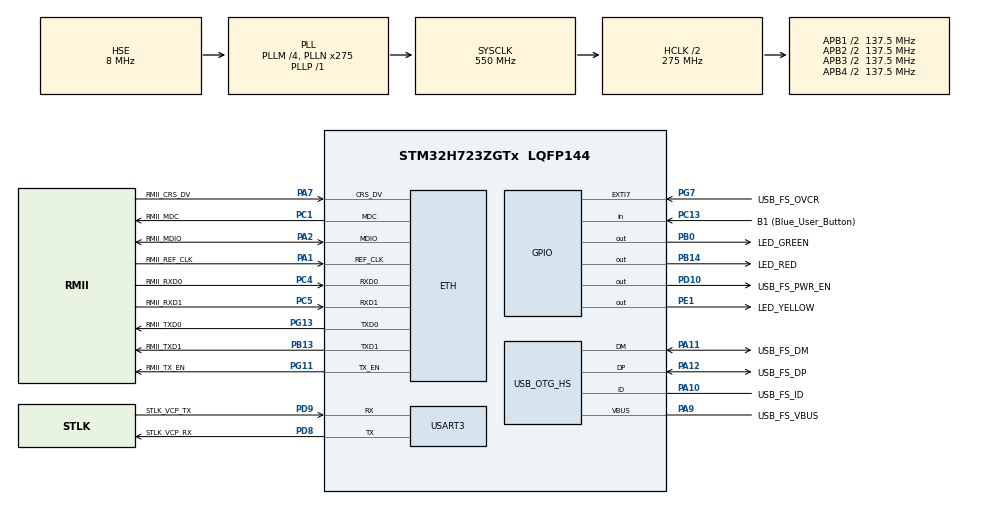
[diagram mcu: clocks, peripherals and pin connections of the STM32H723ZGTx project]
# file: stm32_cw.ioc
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ETH.MediaInterface=HAL_ETH_RMII_MODE
Mcu.Family=STM32H7
Mcu.Name=STM32H723ZGTx
Mcu.Package=LQFP144
NVIC.PriorityGroup=NVIC_PRIORITYGROUP_4
PA1.GPIO_Label=RMII_REF_CLK
PA1.Mode=RMII
PA1.Signal=ETH_REF_CLK
PA10.GPIO_Label=USB_FS_ID
PA10.Mode=OTG/Dual-Role-Device-FS
PA10.Signal=USB_OTG_HS_ID
PA11.GPIO_Label=USB_FS_DM
PA11.Mode=OTG/Dual-Role-Device-FS
PA11.Signal=USB_OTG_HS_DM
PA12.GPIO_Label=USB_FS_DP
PA12.Mode=OTG/Dual-Role-Device-FS
PA12.Signal=USB_OTG_HS_DP
PA13(JTMS/SWDIO).GPIO_Label=SWDIO
PA13(JTMS/SWDIO).Mode=Trace_Asynchronous_SW
PA13(JTMS/SWDIO).Signal=DEBUG_JTMS-SWDIO
PA14(JTCK/SWCLK).GPIO_Label=SWCLK
PA14(JTCK/SWCLK).Mode=Trace_Asynchronous_SW
PA14(JTCK/SWCLK).Signal=DEBUG_JTCK-SWCLK
PA2.GPIO_Label=RMII_MDIO
PA2.Mode=RMII
PA2.Signal=ETH_MDIO
PA7.GPIO_Label=RMII_CRS_DV
PA7.Mode=RMII
PA7.Signal=ETH_CRS_DV
PA9.GPIO_Label=USB_FS_VBUS
PA9.Mode=Activate_VBUS_FS
PA9.Signal=USB_OTG_HS_VBUS
PB0.GPIO_Label=LED_GREEN
PB0.Signal=GPIO_Output
PB13.GPIO_Label=RMII_TXD1
PB13.Mode=RMII
PB13.Signal=ETH_TXD1
PB14.GPIO_Label=LED_RED
PB14.Signal=GPIO_Output
PB3(JTDO/TRACESWO).GPIO_Label=SWO
PB3(JTDO/TRACESWO).Mode=Trace_Asynchronous_SW
PB3(JTDO/TRACESWO).Signal=DEBUG_JTDO-SWO
PC1.GPIO_Label=RMII_MDC
PC1.Mode=RMII
PC1.Signal=ETH_MDC
PC13.GPIO_Label=B1 (Blue_User_Button)
PC13.Signal=GPIO_Input
PC14-OSC32_IN.Mode=LSE-External-Oscillator
PC14-OSC32_IN.Signal=RCC_OSC32_IN
PC15-OSC32_OUT.Mode=LSE-External-Oscillator
PC15-OSC32_OUT.Signal=RCC_OSC32_OUT
PC4.GPIO_Label=RMII_RXD0
PC4.Mode=RMII
PC4.Signal=ETH_RXD0
PC5.GPIO_Label=RMII_RXD1
PC5.Mode=RMII
PC5.Signal=ETH_RXD1
PD10.GPIO_Label=USB_FS_PWR_EN
PD10.Signal=GPIO_Output
PD8.GPIO_Label=STLK_VCP_RX
PD8.Mode=Asynchronous
PD8.Signal=USART3_TX
PD9.GPIO_Label=STLK_VCP_TX
PD9.Mode=Asynchronous
PD9.Signal=USART3_RX
PE1.GPIO_Label=LED_YELLOW
PE1.Signal=GPIO_Output
PG11.GPIO_Label=RMII_TX_EN
PG11.Mode=RMII
PG11.Signal=ETH_TX_EN
PG13.GPIO_Label=RMII_TXD0
PG13.Mode=RMII
PG13.Signal=ETH_TXD0
PG7.GPIO_Label=USB_FS_OVCR
PG7.Signal=GPXTI7
PH0-OSC_IN.GPIO_Label=MCO
PH0-OSC_IN.Mode=HSE-External-Clock-Source
PH0-OSC_IN.Signal=RCC_OSC_IN
PH1-OSC_OUT.Signal=RCC_OSC_OUT
ProjectManager.HeapSize=0x200
ProjectManager.StackSize=0x400
ProjectManager.TargetToolchain=STM32CubeIDE
RCC.ADCFreq_Value=76000000
RCC.APB1Freq_Value=137500000
RCC.APB2Freq_Value=137500000
RCC.APB3Freq_Value=137500000
RCC.APB4Freq_Value=137500000
RCC.CortexFreq_Value=550000000
RCC.D1PPRE=RCC_APB3_DIV2
RCC.D2PPRE1=RCC_APB1_DIV2
RCC.D2PPRE2=RCC_APB2_DIV2
RCC.D3PPRE=RCC_APB4_DIV2
RCC.DIVM1=4
RCC.DIVM2=1
RCC.DIVN1=275
RCC.DIVN2=19
RCC.DIVP1=1
RCC.DIVQ1=4
RCC.HCLKFreq_Value=275000000
RCC.HPRE=RCC_HCLK_DIV2
RCC.HSE_VALUE=8000000
RCC.PLLFRACN=0
RCC.PLLSourceVirtual=RCC_PLLSOURCE_HSE
RCC.SYSCLKFreq_VALUE=550000000
RCC.SYSCLKSource=RCC_SYSCLKSOURCE_PLLCLK
RCC.USBCLockSelection=RCC_USBCLKSOURCE_HSI48
RCC.USBFreq_Value=48000000
USART3.VirtualMode-Asynchronous=VM_ASYNC
VP_CRC_VS_CRC.Mode=CRC_Activate
board=NUCLEO-H723ZG

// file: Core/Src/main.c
/* USER CODE BEGIN Header */
/**
  ******************************************************************************
  * @file           : main.c
  * @brief          : Main program body
  ******************************************************************************
  * @attention
  *
  * Copyright (c) 2022 STMicroelectronics.
  * All rights reserved.
  *
  * This software is licensed under terms that can be found in the LICENSE file
  * in the root directory of this software component.
  * If no LICENSE file comes with this software, it is provided AS-IS.
  *
  ******************************************************************************
  */
/* USER CODE END Header */
#include "main.h"
//#include "string.h"

/* USER CODE BEGIN Includes */
#include "hex.h"
//#include "hex.c"
/* USER CODE END Includes */

#if defined ( __ICCARM__ ) /*!< IAR Compiler */
#pragma location=0x30000000
ETH_DMADescTypeDef  DMARxDscrTab[ETH_RX_DESC_CNT]; /* Ethernet Rx DMA Descriptors */
#pragma location=0x30000200
ETH_DMADescTypeDef  DMATxDscrTab[ETH_TX_DESC_CNT]; /* Ethernet Tx DMA Descriptors */

#elif defined ( __CC_ARM )  /* MDK ARM Compiler */

__attribute__((at(0x30000000))) ETH_DMADescTypeDef  DMARxDscrTab[ETH_RX_DESC_CNT]; /* Ethernet Rx DMA Descriptors */
__attribute__((at(0x30000200))) ETH_DMADescTypeDef  DMATxDscrTab[ETH_TX_DESC_CNT]; /* Ethernet Tx DMA Descriptors */

#elif defined ( __GNUC__ ) /* GNU Compiler */
ETH_DMADescTypeDef DMARxDscrTab[ETH_RX_DESC_CNT] __attribute__((section(".RxDecripSection"))); /* Ethernet Rx DMA Descriptors */
ETH_DMADescTypeDef DMATxDscrTab[ETH_TX_DESC_CNT] __attribute__((section(".TxDecripSection")));   /* Ethernet Tx DMA Descriptors */

#endif

ETH_TxPacketConfig TxConfig;

CRC_HandleTypeDef hcrc;

ETH_HandleTypeDef heth;

UART_HandleTypeDef huart3;

/* USER CODE BEGIN PV */

const char *hexdata[80] = {
				":020000040802F0\n",
		        ":1000000000000524D10E00087D0D0008830D0008B6\n",
		        ":10001000890D00088F0D0008950D000800000000F4\n",
				":100020000000000000000000000000009B0D000820\n",
				":10003000A90D000800000000B70D0008C50D00085C\n",
				":10004000210F0008210F0008210F0008210F0008D0\n",
				":10005000210F0008210F0008210F0008210F0008C0\n",
				":10006000210F0008210F0008210F0008210F0008B0\n",
				":10007000210F0008210F0008210F0008210F0008A0\n",
				":10008000210F0008210F0008210F0008210F000890\n",
				":10009000210F0008210F0008210F0008210F000880\n",
				":1000A000210F0008210F0008210F0008210F000870\n",
				":1000B000210F0008210F0008210F0008210F000860\n",
				":1000C000210F0008210F0008210F0008210F000850\n",
				":1000D000210F0008210F0008210F0008210F000840\n",
				":1000E000D10D0008210F000800000000210F0008BA\n",
				":1000F000210F0008210F0008210F0008210F000820\n",
				":10010000210F0008210F0008210F0008210F00080F\n",
				":10011000210F0008210F0008210F0008210F0008FF\n",
				":10012000210F0008210F0008210F0008210F0008EF\n",
				":10013000210F0008210F0008210F0008210F0008DF\n",
				":1001400000000000000000000000000000000000AF\n",
				":10015000210F0008210F0008210F0008210F0008BF\n",
				":10016000210F0008210F0008210F0008210F0008AF\n",
				":10017000210F0008210F0008210F000800000000D7\n",
				":10018000210F0008210F0008210F0008210F00088F\n",
				":10019000210F0008210F0008210F0008210F00087F\n",
				":1001A000210F0008210F0008210F000800000000A7\n",
				":1001B000210F0008210F0008210F0008210F00085F\n",
				":1001C000836A33F8110000EB8000C01000F55C700A\n",
				":1001D00080B2704703788B4286BF024B33F8110020\n",
				":1001E00000207047C81C0020034B187E10B100226D\n",
				":1001F0001A760120704700BFC81C002007299DBF48\n",
				":10020000024B03EB8101888B00207047C81C002043\n",
				":10021000024B03EB4101888FC0087047C81C0020C7\n",
				":1002200082B000230193019B43F020030193019BC3\n",
				":00000001FF\n"
};

hexconv testData;
extern uint8_t eof_reached;

uint32_t FirstSector = 1, NbOfSectors = 1;
uint32_t Address = 0, SECTORError = 0;

static FLASH_EraseInitTypeDef EraseInitStruct;
uint32_t flashdata[8];

/* USER CODE END PV */

void SystemClock_Config(void);
static void MX_GPIO_Init(void);
static void MX_ETH_Init(void);
static void MX_USART3_UART_Init(void);
static void MX_USB_OTG_HS_USB_Init(void);
static void MX_CRC_Init(void);

int main(void)
{

  /* MCU Configuration--------------------------------------------------------*/

  /* Reset of all peripherals, Initializes the Flash interface and the Systick. */
  HAL_Init();

  /* Configure the system clock */
  SystemClock_Config();

  /* Initialize all configured peripherals */
  MX_GPIO_Init();
  MX_ETH_Init();
  MX_USART3_UART_Init();
  MX_USB_OTG_HS_USB_Init();
  MX_CRC_Init();
  /* USER CODE BEGIN 2 */

  // ----------------open flash to write----------------
  HAL_FLASH_Unlock();
  HAL_Delay(10);

  //----------------------------erase--------------------

  	  EraseInitStruct.TypeErase     = FLASH_TYPEERASE_SECTORS;
      EraseInitStruct.Banks         = FLASH_BANK_1;
      EraseInitStruct.VoltageRange  = FLASH_VOLTAGE_RANGE_4;
      EraseInitStruct.Sector        = FirstSector;
      EraseInitStruct.NbSectors     = NbOfSectors;

	  HAL_FLASHEx_Erase(&EraseInitStruct, &SECTORError);
	  HAL_Delay(10);

  //----------------- считать первую строку для получения extended adress----------------
  getFromHex(hexdata[0], &testData);

  //-----------------------обработка  остальных строк------------------------
  int i = 1;
  while (!eof_reached)
  {
	//int i = 1;
	if (0== getFromHex(hexdata[i], &testData))
	{
		//testData.data[4] = 0x00;
		memset(flashdata, 0x00, sizeof(flashdata));
		memcpy(flashdata, testData.data, 16);

//-------------------------а вот это потому, что я купил Н7---------------------
		uint32_t flash_addr = testData.addr;
		i++;
		if(0== getFromHex(hexdata[i], &testData) && !eof_reached)
		{
		for (int j = 4; j<8; j++)
		{
			flashdata[j] = testData.data[j-4];
		}
		}
		else if (eof_reached)
		{
			for (int j = 4; j<8; j++)
					{
						flashdata[j] = 0xffffffff;
					}

		}
//---------------------конец костыля для Н7--------------------------

		HAL_FLASH_Program(FLASH_TYPEPROGRAM_FLASHWORD, flash_addr, (uint32_t)flashdata);
		//HAL_FLASH_Program(TypeProgram, FlashAddress, DataAddress);
	}
	i++;
  }

  HAL_FLASH_Lock();

  /* USER CODE END 2 */

  /* Infinite loop */
  while (1)
  {

    /* USER CODE BEGIN 3 */
	  __NOP();

  }
  /* USER CODE END 3 */
}

void SystemClock_Config(void)
{
  RCC_OscInitTypeDef RCC_OscInitStruct = {0};
  RCC_ClkInitTypeDef RCC_ClkInitStruct = {0};

  /** Supply configuration update enable
  */
  HAL_PWREx_ConfigSupply(PWR_LDO_SUPPLY);

  /** Configure the main internal regulator output voltage
  */
  __HAL_PWR_VOLTAGESCALING_CONFIG(PWR_REGULATOR_VOLTAGE_SCALE0);

  while(!__HAL_PWR_GET_FLAG(PWR_FLAG_VOSRDY)) {}

  /** Initializes the RCC Oscillators according to the specified parameters
  * in the RCC_OscInitTypeDef structure.
  */
  RCC_OscInitStruct.OscillatorType = RCC_OSCILLATORTYPE_HSI48|RCC_OSCILLATORTYPE_HSE;
  RCC_OscInitStruct.HSEState = RCC_HSE_BYPASS;
  RCC_OscInitStruct.HSI48State = RCC_HSI48_ON;
  RCC_OscInitStruct.PLL.PLLState = RCC_PLL_ON;
  RCC_OscInitStruct.PLL.PLLSource = RCC_PLLSOURCE_HSE;
  RCC_OscInitStruct.PLL.PLLM = 4;
  RCC_OscInitStruct.PLL.PLLN = 275;
  RCC_OscInitStruct.PLL.PLLP = 1;
  RCC_OscInitStruct.PLL.PLLQ = 4;
  RCC_OscInitStruct.PLL.PLLR = 2;
  RCC_OscInitStruct.PLL.PLLRGE = RCC_PLL1VCIRANGE_1;
  RCC_OscInitStruct.PLL.PLLVCOSEL = RCC_PLL1VCOWIDE;
  RCC_OscInitStruct.PLL.PLLFRACN = 0;
  if (HAL_RCC_OscConfig(&RCC_OscInitStruct) != HAL_OK)
  {
    Error_Handler();
  }

  /** Initializes the CPU, AHB and APB buses clocks
  */
  RCC_ClkInitStruct.ClockType = RCC_CLOCKTYPE_HCLK|RCC_CLOCKTYPE_SYSCLK
                              |RCC_CLOCKTYPE_PCLK1|RCC_CLOCKTYPE_PCLK2
                              |RCC_CLOCKTYPE_D3PCLK1|RCC_CLOCKTYPE_D1PCLK1;
  RCC_ClkInitStruct.SYSCLKSource = RCC_SYSCLKSOURCE_PLLCLK;
  RCC_ClkInitStruct.SYSCLKDivider = RCC_SYSCLK_DIV1;
  RCC_ClkInitStruct.AHBCLKDivider = RCC_HCLK_DIV2;
  RCC_ClkInitStruct.APB3CLKDivider = RCC_APB3_DIV2;
  RCC_ClkInitStruct.APB1CLKDivider = RCC_APB1_DIV2;
  RCC_ClkInitStruct.APB2CLKDivider = RCC_APB2_DIV2;
  RCC_ClkInitStruct.APB4CLKDivider = RCC_APB4_DIV2;

  if (HAL_RCC_ClockConfig(&RCC_ClkInitStruct, FLASH_LATENCY_3) != HAL_OK)
  {
    Error_Handler();
  }
}

static void MX_CRC_Init(void)
{

  hcrc.Instance = CRC;
  hcrc.Init.DefaultPolynomialUse = DEFAULT_POLYNOMIAL_ENABLE;
  hcrc.Init.DefaultInitValueUse = DEFAULT_INIT_VALUE_ENABLE;
  hcrc.Init.InputDataInversionMode = CRC_INPUTDATA_INVERSION_NONE;
  hcrc.Init.OutputDataInversionMode = CRC_OUTPUTDATA_INVERSION_DISABLE;
  hcrc.InputDataFormat = CRC_INPUTDATA_FORMAT_BYTES;
  if (HAL_CRC_Init(&hcrc) != HAL_OK)
  {
    Error_Handler();
  }

}

static void MX_ETH_Init(void)
{

   static uint8_t MACAddr[6];

  heth.Instance = ETH;
  MACAddr[0] = 0x00;
  MACAddr[1] = 0x80;
  MACAddr[2] = 0xE1;
  MACAddr[3] = 0x00;
  MACAddr[4] = 0x00;
  MACAddr[5] = 0x00;
  heth.Init.MACAddr = &MACAddr[0];
  heth.Init.MediaInterface = HAL_ETH_RMII_MODE;
  heth.Init.TxDesc = DMATxDscrTab;
  heth.Init.RxDesc = DMARxDscrTab;
  heth.Init.RxBuffLen = 1524;

  if (HAL_ETH_Init(&heth) != HAL_OK)
  {
    Error_Handler();
  }

  memset(&TxConfig, 0 , sizeof(ETH_TxPacketConfig));
  TxConfig.Attributes = ETH_TX_PACKETS_FEATURES_CSUM | ETH_TX_PACKETS_FEATURES_CRCPAD;
  TxConfig.ChecksumCtrl = ETH_CHECKSUM_IPHDR_PAYLOAD_INSERT_PHDR_CALC;
  TxConfig.CRCPadCtrl = ETH_CRC_PAD_INSERT;

}

static void MX_USART3_UART_Init(void)
{

  huart3.Instance = USART3;
  huart3.Init.BaudRate = 115200;
  huart3.Init.WordLength = UART_WORDLENGTH_8B;
  huart3.Init.StopBits = UART_STOPBITS_1;
  huart3.Init.Parity = UART_PARITY_NONE;
  huart3.Init.Mode = UART_MODE_TX_RX;
  huart3.Init.HwFlowCtl = UART_HWCONTROL_NONE;
  huart3.Init.OverSampling = UART_OVERSAMPLING_16;
  huart3.Init.OneBitSampling = UART_ONE_BIT_SAMPLE_DISABLE;
  huart3.Init.ClockPrescaler = UART_PRESCALER_DIV1;
  huart3.AdvancedInit.AdvFeatureInit = UART_ADVFEATURE_NO_INIT;
  if (HAL_UART_Init(&huart3) != HAL_OK)
  {
    Error_Handler();
  }
  if (HAL_UARTEx_SetTxFifoThreshold(&huart3, UART_TXFIFO_THRESHOLD_1_8) != HAL_OK)
  {
    Error_Handler();
  }
  if (HAL_UARTEx_SetRxFifoThreshold(&huart3, UART_RXFIFO_THRESHOLD_1_8) != HAL_OK)
  {
    Error_Handler();
  }
  if (HAL_UARTEx_DisableFifoMode(&huart3) != HAL_OK)
  {
    Error_Handler();
  }

}

static void MX_USB_OTG_HS_USB_Init(void)
{

}

static void MX_GPIO_Init(void)
{
  GPIO_InitTypeDef GPIO_InitStruct = {0};

  /* GPIO Ports Clock Enable */
  __HAL_RCC_GPIOC_CLK_ENABLE();
  __HAL_RCC_GPIOH_CLK_ENABLE();
  __HAL_RCC_GPIOA_CLK_ENABLE();
  __HAL_RCC_GPIOB_CLK_ENABLE();
  __HAL_RCC_GPIOD_CLK_ENABLE();
  __HAL_RCC_GPIOG_CLK_ENABLE();
  __HAL_RCC_GPIOE_CLK_ENABLE();

  /*Configure GPIO pin Output Level */
  HAL_GPIO_WritePin(GPIOB, LED_GREEN_Pin|LED_RED_Pin, GPIO_PIN_RESET);

  /*Configure GPIO pin Output Level */
  HAL_GPIO_WritePin(USB_FS_PWR_EN_GPIO_Port, USB_FS_PWR_EN_Pin, GPIO_PIN_RESET);

  /*Configure GPIO pin Output Level */
  HAL_GPIO_WritePin(LED_YELLOW_GPIO_Port, LED_YELLOW_Pin, GPIO_PIN_RESET);

  /*Configure GPIO pin : B1_Pin */
  GPIO_InitStruct.Pin = B1_Pin;
  GPIO_InitStruct.Mode = GPIO_MODE_INPUT;
  GPIO_InitStruct.Pull = GPIO_NOPULL;
  HAL_GPIO_Init(B1_GPIO_Port, &GPIO_InitStruct);

  /*Configure GPIO pins : LED_GREEN_Pin LED_RED_Pin */
  GPIO_InitStruct.Pin = LED_GREEN_Pin|LED_RED_Pin;
  GPIO_InitStruct.Mode = GPIO_MODE_OUTPUT_PP;
  GPIO_InitStruct.Pull = GPIO_NOPULL;
  GPIO_InitStruct.Speed = GPIO_SPEED_FREQ_LOW;
  HAL_GPIO_Init(GPIOB, &GPIO_InitStruct);

  /*Configure GPIO pin : USB_FS_PWR_EN_Pin */
  GPIO_InitStruct.Pin = USB_FS_PWR_EN_Pin;
  GPIO_InitStruct.Mode = GPIO_MODE_OUTPUT_PP;
  GPIO_InitStruct.Pull = GPIO_NOPULL;
  GPIO_InitStruct.Speed = GPIO_SPEED_FREQ_LOW;
  HAL_GPIO_Init(USB_FS_PWR_EN_GPIO_Port, &GPIO_InitStruct);

  /*Configure GPIO pin : USB_FS_OVCR_Pin */
  GPIO_InitStruct.Pin = USB_FS_OVCR_Pin;
  GPIO_InitStruct.Mode = GPIO_MODE_IT_RISING;
  GPIO_InitStruct.Pull = GPIO_NOPULL;
  HAL_GPIO_Init(USB_FS_OVCR_GPIO_Port, &GPIO_InitStruct);

  /*Configure GPIO pin : USB_FS_VBUS_Pin */
  GPIO_InitStruct.Pin = USB_FS_VBUS_Pin;
  GPIO_InitStruct.Mode = GPIO_MODE_INPUT;
  GPIO_InitStruct.Pull = GPIO_NOPULL;
  HAL_GPIO_Init(USB_FS_VBUS_GPIO_Port, &GPIO_InitStruct);

  /*Configure GPIO pin : USB_FS_ID_Pin */
  GPIO_InitStruct.Pin = USB_FS_ID_Pin;
  GPIO_InitStruct.Mode = GPIO_MODE_AF_PP;
  GPIO_InitStruct.Pull = GPIO_NOPULL;
  GPIO_InitStruct.Speed = GPIO_SPEED_FREQ_LOW;
  GPIO_InitStruct.Alternate = GPIO_AF10_OTG1_HS;
  HAL_GPIO_Init(USB_FS_ID_GPIO_Port, &GPIO_InitStruct);

  /*Configure GPIO pin : LED_YELLOW_Pin */
  GPIO_InitStruct.Pin = LED_YELLOW_Pin;
  GPIO_InitStruct.Mode = GPIO_MODE_OUTPUT_PP;
  GPIO_InitStruct.Pull = GPIO_NOPULL;
  GPIO_InitStruct.Speed = GPIO_SPEED_FREQ_LOW;
  HAL_GPIO_Init(LED_YELLOW_GPIO_Port, &GPIO_InitStruct);

}

void Error_Handler(void)
{
  __disable_irq();
  while (1)
  {
  }
}
